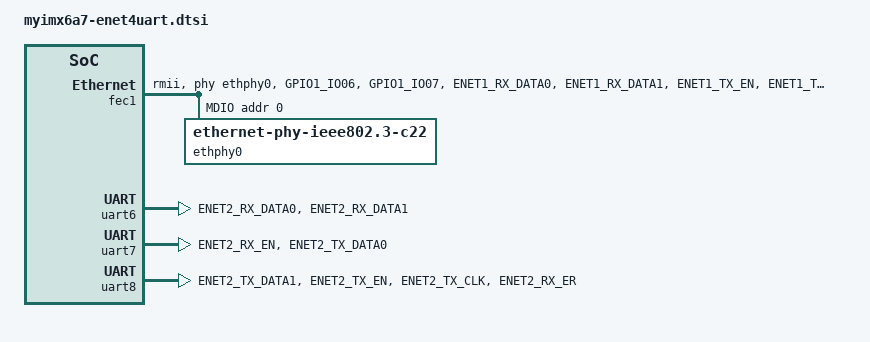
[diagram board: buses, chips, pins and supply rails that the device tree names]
/*
 * MYZR Technology Co.,Ltd
 * http://www.myzr.com.cn
 * Tang Bin <tangb@myzr.com.cn>
 */

&iomuxc {
	myimx6a7-enet-pad {
		pinctrl_gpio1_enet1_smi: gpio1_enet1_smi_grp {
 			fsl,pins = <
 				MX6UL_PAD_GPIO1_IO06__ENET1_MDIO		0x1b0b0
 				MX6UL_PAD_GPIO1_IO07__ENET1_MDC			0x1b0b0
 			>;
 		};
		pinctrl_enet1_enet1: enet1_enet1_grp {
  			fsl,pins = <
  				MX6UL_PAD_ENET1_RX_DATA0__ENET1_RDATA00	0x1b0b0
  				MX6UL_PAD_ENET1_RX_DATA1__ENET1_RDATA01	0x1b0b0
  				MX6UL_PAD_ENET1_TX_EN__ENET1_TX_EN		0x1b0b0
  				MX6UL_PAD_ENET1_TX_CLK__ENET1_REF_CLK1	0x4001b031 /* 0x4001b0a0 ? */
  				MX6UL_PAD_ENET1_TX_DATA0__ENET1_TDATA00	0x1b0b0
  				MX6UL_PAD_ENET1_TX_DATA1__ENET1_TDATA01	0x1b0b0
  				MX6UL_PAD_ENET1_RX_ER__ENET1_RX_ER		0x1b0b0
  				MX6UL_PAD_ENET1_RX_EN__ENET1_RX_EN		0x1b0b0
  			>;
  		};
		pinctrl_uart1_enet1_int: uart1_enet1_int_grp {
 			fsl,pins = <
 				MX6UL_PAD_UART1_CTS_B__GPIO1_IO18		0x80000000	/* ENET1 INT */
 			>;
 		};
		
		pinctrl_enet2_uart6: enet2uart6grp {
			fsl,pins = <
				MX6UL_PAD_ENET2_RX_DATA0__UART6_DCE_TX	0x1b0b1
				MX6UL_PAD_ENET2_RX_DATA1__UART6_DCE_RX	0x1b0b1
			>;
		};
		pinctrl_enet2_uart7: enet2uart7grp {
			fsl,pins = <
				MX6UL_PAD_ENET2_RX_EN__UART7_DCE_TX		0x1b0b1
				MX6UL_PAD_ENET2_TX_DATA0__UART7_DCE_RX	0x1b0b1
			>;
		};
		pinctrl_enet2_uart8: enet2uart8grp {
			fsl,pins = <
				MX6UL_PAD_ENET2_TX_DATA1__UART8_DCE_TX	0x1b0b1
				MX6UL_PAD_ENET2_TX_EN__UART8_DCE_RX		0x1b0b1
				MX6UL_PAD_ENET2_TX_CLK__UART8_DCE_CTS	0x1b0b1
				MX6UL_PAD_ENET2_RX_ER__UART8_DCE_RTS	0x1b0b1
			>;
		};
		pinctrl_uart1_gpio: uart1_gpio_grp {
 			fsl,pins = <
 				MX6UL_PAD_UART1_RTS_B__GPIO1_IO19		0x80000000
 			>;
 		};
	};
};

&fec1 {
    pinctrl-names = "default";
    pinctrl-0 = <
        &pinctrl_gpio1_enet1_smi 
        &pinctrl_enet1_enet1 
        &pinctrl_snvs_enet_rst
        &pinctrl_uart1_enet1_int
        &pinctrl_uart1_gpio
    >;
    phy-mode = "rmii";
    phy-reset-gpios = <&gpio5 9 GPIO_ACTIVE_HIGH>;
    phy-handle = <&ethphy0>;
    status = "okay";

    mdio {
        #address-cells = <1>;
        #size-cells = <0>;

        ethphy0: ethernet-phy@0 {
            compatible = "ethernet-phy-ieee802.3-c22";
            reg = <0>;
        };
    };
};

&fec2 {
	status = "disabled";
};

&uart6 {
	pinctrl-names = "default";
	pinctrl-0 = <&pinctrl_enet2_uart6>;
	status = "okay";
};

&uart7 {
	pinctrl-names = "default";
	pinctrl-0 = <&pinctrl_enet2_uart7>;
	status = "okay";
};

&uart8 {
	pinctrl-names = "default";
	pinctrl-0 = <&pinctrl_enet2_uart8>;
	status = "okay";
};
